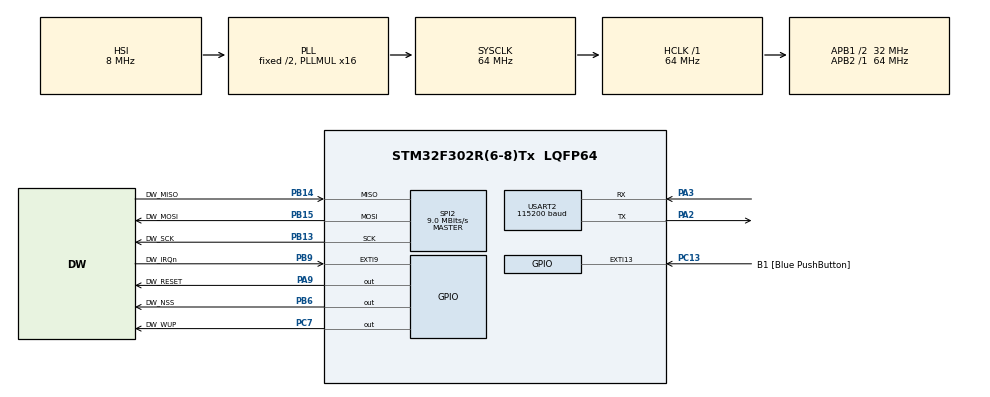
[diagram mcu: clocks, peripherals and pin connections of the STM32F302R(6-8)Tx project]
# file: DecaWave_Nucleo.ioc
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Mcu.Family=STM32F3
Mcu.Name=STM32F302R(6-8)Tx
Mcu.Package=LQFP64
NVIC.EXTI15_10_IRQn=true\:0\:0\:false\:false\:true\:true\:true\:true
NVIC.EXTI9_5_IRQn=true\:0\:0\:false\:false\:true\:true\:true\:true
NVIC.PriorityGroup=NVIC_PRIORITYGROUP_0
NVIC.RCC_IRQn=true\:0\:0\:false\:false\:true\:true\:false\:true
NVIC.SPI2_IRQn=true\:0\:0\:false\:false\:true\:true\:true\:true
NVIC.TIM1_UP_TIM16_IRQn=true\:0\:0\:false\:false\:true\:false\:true\:true
NVIC.TimeBase=TIM1_UP_TIM16_IRQn
NVIC.TimeBaseIP=TIM1
PA13.Mode=Serial_Wire
PA13.Signal=SYS_JTMS-SWDIO
PA14.GPIO_Label=TCK
PA14.Mode=Serial_Wire
PA14.Signal=SYS_JTCK-SWCLK
PA2.Mode=Asynchronous
PA2.Signal=USART2_TX
PA3.Mode=Asynchronous
PA3.Signal=USART2_RX
PA9.GPIO_Label=DW_RESET
PA9.GPIO_ModeDefaultOutputPP=GPIO_MODE_OUTPUT_OD
PA9.GPIO_PuPd=GPIO_NOPULL
PA9.Signal=GPIO_Output
PB13.GPIO_Label=DW_SCK
PB13.Mode=Full_Duplex_Master
PB13.Signal=SPI2_SCK
PB14.GPIO_Label=DW_MISO
PB14.Mode=Full_Duplex_Master
PB14.Signal=SPI2_MISO
PB15.GPIO_Label=DW_MOSI
PB15.Mode=Full_Duplex_Master
PB15.Signal=SPI2_MOSI
PB6.GPIO_Label=DW_NSS
PB6.GPIO_ModeDefaultOutputPP=GPIO_MODE_OUTPUT_PP
PB6.GPIO_Speed=GPIO_SPEED_FREQ_HIGH
PB6.PinState=GPIO_PIN_SET
PB6.Signal=GPIO_Output
PB9.GPIO_Label=DW_IRQn
PB9.GPIO_ModeDefaultEXTI=GPIO_MODE_IT_RISING
PB9.GPIO_PuPd=GPIO_PULLDOWN
PB9.Signal=GPXTI9
PC13.GPIO_Label=B1 [Blue PushButton]
PC13.GPIO_ModeDefaultEXTI=GPIO_MODE_IT_FALLING
PC13.Signal=GPXTI13
PC7.GPIO_Label=DW_WUP
PC7.GPIO_ModeDefaultOutputPP=GPIO_MODE_OUTPUT_OD
PC7.GPIO_PuPd=GPIO_NOPULL
PC7.GPIO_Speed=GPIO_SPEED_FREQ_HIGH
PC7.PinState=GPIO_PIN_SET
PC7.Signal=GPIO_Output
ProjectManager.HeapSize=0x200
ProjectManager.StackSize=0x400
ProjectManager.TargetToolchain=STM32CubeIDE
RCC.AHBFreq_Value=64000000
RCC.APB1CLKDivider=RCC_HCLK_DIV2
RCC.APB1Freq_Value=32000000
RCC.APB1TimFreq_Value=64000000
RCC.APB2Freq_Value=64000000
RCC.APB2TimFreq_Value=64000000
RCC.CortexFreq_Value=64000000
RCC.HCLKFreq_Value=64000000
RCC.HSE_VALUE=8000000
RCC.HSI_VALUE=8000000
RCC.LSE_VALUE=32768
RCC.PLLM=8
RCC.PLLMUL=RCC_PLL_MUL16
RCC.PLLN=336
RCC.PLLP=RCC_PLLP_DIV4
RCC.PLLQ=7
RCC.RCC_PLLsource_Clock_Source_FROM_HSE=RCC_HSE_PREDIV_DIV2
RCC.SYSCLKFreq_VALUE=64000000
RCC.SYSCLKSourceVirtual=RCC_SYSCLKSOURCE_PLLCLK
RCC.USBFreq_Value=64000000
SPI2.BaudRatePrescaler=SPI_BAUDRATEPRESCALER_4
SPI2.CalculateBaudRate=9.0 MBits/s
SPI2.DataSize=SPI_DATASIZE_8BIT
SPI2.Direction=SPI_DIRECTION_2LINES
SPI2.Mode=SPI_MODE_MASTER
SPI2.NSSPMode=SPI_NSS_PULSE_DISABLE
SPI2.VirtualType=VM_MASTER
USART2.BaudRate=115200
USART2.VirtualMode-Asynchronous=VM_ASYNC
VP_SYS_VS_tim1.Mode=TIM1
board=NUCLEO-F302R8

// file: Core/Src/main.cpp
/* USER CODE BEGIN Header */
/**
  ******************************************************************************
  * @file           : main.c
  * @brief          : Main program body
  ******************************************************************************
  * @attention
  *
  * Copyright (c) 2023 STMicroelectronics.
  * All rights reserved.
  *
  * This software is licensed under terms that can be found in the LICENSE file
  * in the root directory of this software component.
  * If no LICENSE file comes with this software, it is provided AS-IS.
  *
  ******************************************************************************
  */
/* USER CODE END Header */
#include "main.h"

/* USER CODE BEGIN Includes */
#include "port.h"
#include "deca_device_api.h"
#include "deca_regs.h"
#include "deca_spi.h"
#include "port.h"

#include "DW1000Ranging.h"

/* USER CODE END Includes */

/* USER CODE BEGIN PD */
#define DELAY_CALIB false
/* USER CODE END PD */

SPI_HandleTypeDef hspi2;
UART_HandleTypeDef huart2;

/* USER CODE BEGIN PV */

/* Default communication configuration. We use here EVK1000's default mode (mode 3). */
static dwt_config_t config = {
    5,               /* Channel number. */
    DWT_PRF_16M,     /* Pulse repetition frequency. */
    DWT_PLEN_2048,   /* Preamble length. Used in TX only. */
    DWT_PAC8,       /* Preamble acquisition chunk size. Used in RX only. */
    4,               /* TX preamble code. Used in TX only. */
    4,               /* RX preamble code. Used in RX only. */
    1,               /* 0 to use standard SFD, 1 to use non-standard SFD. */
    DWT_BR_110K,     /* Data rate. */
    DWT_PHRMODE_STD, /* PHY header mode. */
	(4096 + 64 + 1) /* SFD timeout (preamble length + 1 + SFD length - PAC size). Used in RX only. */
};

//char tag_addr[] = "7D:02:22:EA:82:60:3B:9C";
char anchor_addr[] = "04:73:5B:D5:A9:9A:E2:AC";  // addr = 4
uint8_t uart_new_line[] = "\r\n";

// calibrated value
// 16325 before closet
uint16_t Adelay = 16397;

float this_anchor_target_distance = 13.0; //measured distance to anchor in m
uint16_t Adelay_delta = 10; //initial binary search step size
/* USER CODE END PV */

void SystemClock_Config(void);
static void MX_GPIO_Init(void);
static void MX_SPI2_Init(void);
static void MX_USART2_UART_Init(void);

/* USER CODE BEGIN 0 */

void newRange()
{
	if (DELAY_CALIB)
	{
		static float last_delta = 0.0;

		float dist = 0;
		for (int i = 0; i < 100; i++) {
		// get and average 100 measurements
		dist += DW1000Ranging.getDistantDevice()->getRange();
		}
		dist /= 100.0;

		uint8_t buffer_uart1[32];
		sprintf((char*)buffer_uart1, " Distance is: %f\r\n", dist);
		HAL_UART_Transmit(&huart2, buffer_uart1, strlen((char*)buffer_uart1), 100);

		if (Adelay_delta < 3) {
			uint8_t buf[] = "\r\n final Adelay ";
			HAL_UART_Transmit(&huart2, buf, sizeof(buf), 100);
//			uint8_t adel[2] = {Adelay & 0xFF, Adelay >> 8};
			HAL_UART_Transmit(&huart2, (uint8_t *)&Adelay, sizeof(Adelay), 100);

			while(1);  //done calibrating
		}

		float this_delta = dist - this_anchor_target_distance;  //error in measured distance

		if ( this_delta * last_delta < 0.0) Adelay_delta = Adelay_delta / 2; //sign changed, reduce step size
		last_delta = this_delta;

		if (this_delta > 0.0 ) Adelay += Adelay_delta; //new trial Adelay
		else Adelay -= Adelay_delta;

		uint8_t buf1[] = "\r\n Adelay = ";
		HAL_UART_Transmit(&huart2, buf1, sizeof(buf1), 100);
//		uint8_t adel[2] = {Adelay & 0xFF, Adelay >> 8};
//		HAL_UART_Transmit(&huart2, adel, sizeof(adel), 100);
		HAL_UART_Transmit(&huart2, (uint8_t *)&Adelay, sizeof(Adelay), 100);
		DW1000.setAntennaDelay(Adelay);
		DW1000Ranging.startAsAnchor(anchor_addr, DW1000.MODE_LONGDATA_RANGE_LOWPOWER, false);
	}
	else
	{
		uint8_t buffer_uart2[32];

		float range = DW1000Ranging.getDistantDevice()->getRange();
		sprintf((char*)buffer_uart2, "Distance is: %f\r\n", range);
		HAL_UART_Transmit(&huart2, buffer_uart2, strlen((char*)buffer_uart2), 100);
	}
}

void newDevice(DW1000Device *device)
{
	uint8_t buffer_uart2[] = "Device added\r\n";
	HAL_UART_Transmit(&huart2, buffer_uart2, sizeof(buffer_uart2), 100);
}

void inactiveDevice(DW1000Device *device)
{
	uint8_t buffer_uart3[] = "Delete inactive device\r\n";
	HAL_UART_Transmit(&huart2, buffer_uart3, sizeof(buffer_uart3), 100);
}

int dw_main(void)
{
    /* Display application name on LCD. */
	uint8_t buffer_uart[] = "\r\nSS TWR INIT v1.3\r\n";  // начало строки, новая строка
	HAL_UART_Transmit(&huart2, buffer_uart, sizeof(buffer_uart), 100);

	DW1000Ranging.initCommunication(&huart2, &config);

	DW1000.setAntennaDelay(Adelay);

	DW1000Ranging.attachNewRange(newRange);
	DW1000Ranging.attachNewDevice(newDevice);
	DW1000Ranging.attachInactiveDevice(inactiveDevice);
	//Enable the filter to smooth the distance
	DW1000Ranging.useRangeFilter(true);

	DW1000Ranging.startAsAnchor(anchor_addr, DW1000.MODE_LONGDATA_RANGE_LOWPOWER, false);

}
/* USER CODE END 0 */

int main(void)
{

  /* MCU Configuration--------------------------------------------------------*/

  /* Reset of all peripherals, Initializes the Flash interface and the Systick. */
  HAL_Init();

  /* Configure the system clock */
  SystemClock_Config();

  /* Initialize all configured peripherals */
  MX_GPIO_Init();
  MX_SPI2_Init();
  MX_USART2_UART_Init();
  /* USER CODE BEGIN 2 */

  setup_DW1000RSTnIRQ(0);
  dw_main();

  /* USER CODE END 2 */

  /* Infinite loop */
  /* USER CODE BEGIN WHILE */
  while (1)
  {
	  DW1000Ranging.loop();

    /* USER CODE END WHILE */

  }
}

void SystemClock_Config(void)
{
  RCC_OscInitTypeDef RCC_OscInitStruct = {0};
  RCC_ClkInitTypeDef RCC_ClkInitStruct = {0};

  /** Initializes the RCC Oscillators according to the specified parameters
  * in the RCC_OscInitTypeDef structure.
  */
  RCC_OscInitStruct.OscillatorType = RCC_OSCILLATORTYPE_HSI;
  RCC_OscInitStruct.HSIState = RCC_HSI_ON;
  RCC_OscInitStruct.HSICalibrationValue = RCC_HSICALIBRATION_DEFAULT;
  RCC_OscInitStruct.PLL.PLLState = RCC_PLL_ON;
  RCC_OscInitStruct.PLL.PLLSource = RCC_PLLSOURCE_HSI;
  RCC_OscInitStruct.PLL.PLLMUL = RCC_PLL_MUL16;
  if (HAL_RCC_OscConfig(&RCC_OscInitStruct) != HAL_OK)
  {
    Error_Handler();
  }

  /** Initializes the CPU, AHB and APB buses clocks
  */
  RCC_ClkInitStruct.ClockType = RCC_CLOCKTYPE_HCLK|RCC_CLOCKTYPE_SYSCLK
                              |RCC_CLOCKTYPE_PCLK1|RCC_CLOCKTYPE_PCLK2;
  RCC_ClkInitStruct.SYSCLKSource = RCC_SYSCLKSOURCE_PLLCLK;
  RCC_ClkInitStruct.AHBCLKDivider = RCC_SYSCLK_DIV1;
  RCC_ClkInitStruct.APB1CLKDivider = RCC_HCLK_DIV2;
  RCC_ClkInitStruct.APB2CLKDivider = RCC_HCLK_DIV1;

  if (HAL_RCC_ClockConfig(&RCC_ClkInitStruct, FLASH_LATENCY_2) != HAL_OK)
  {
    Error_Handler();
  }
}

static void MX_SPI2_Init(void)
{

  /* SPI2 parameter configuration*/
  hspi2.Instance = SPI2;
  hspi2.Init.Mode = SPI_MODE_MASTER;
  hspi2.Init.Direction = SPI_DIRECTION_2LINES;
  hspi2.Init.DataSize = SPI_DATASIZE_8BIT;
  hspi2.Init.CLKPolarity = SPI_POLARITY_LOW;
  hspi2.Init.CLKPhase = SPI_PHASE_1EDGE;
  hspi2.Init.NSS = SPI_NSS_SOFT;
  hspi2.Init.BaudRatePrescaler = SPI_BAUDRATEPRESCALER_4;
  hspi2.Init.FirstBit = SPI_FIRSTBIT_MSB;
  hspi2.Init.TIMode = SPI_TIMODE_DISABLE;
  hspi2.Init.CRCCalculation = SPI_CRCCALCULATION_DISABLE;
  hspi2.Init.CRCPolynomial = 7;
  hspi2.Init.CRCLength = SPI_CRC_LENGTH_DATASIZE;
  hspi2.Init.NSSPMode = SPI_NSS_PULSE_DISABLE;
  if (HAL_SPI_Init(&hspi2) != HAL_OK)
  {
    Error_Handler();
  }

}

static void MX_USART2_UART_Init(void)
{

  huart2.Instance = USART2;
  huart2.Init.BaudRate = 115200;
  huart2.Init.WordLength = UART_WORDLENGTH_8B;
  huart2.Init.StopBits = UART_STOPBITS_1;
  huart2.Init.Parity = UART_PARITY_NONE;
  huart2.Init.Mode = UART_MODE_TX_RX;
  huart2.Init.HwFlowCtl = UART_HWCONTROL_NONE;
  huart2.Init.OverSampling = UART_OVERSAMPLING_16;
  huart2.Init.OneBitSampling = UART_ONE_BIT_SAMPLE_DISABLE;
  huart2.AdvancedInit.AdvFeatureInit = UART_ADVFEATURE_NO_INIT;
  if (HAL_UART_Init(&huart2) != HAL_OK)
  {
    Error_Handler();
  }

}

static void MX_GPIO_Init(void)
{
  GPIO_InitTypeDef GPIO_InitStruct = {0};

  /* GPIO Ports Clock Enable */
  __HAL_RCC_GPIOC_CLK_ENABLE();
  __HAL_RCC_GPIOA_CLK_ENABLE();
  __HAL_RCC_GPIOB_CLK_ENABLE();

  /*Configure GPIO pin Output Level */
  HAL_GPIO_WritePin(DW_WUP_GPIO_Port, DW_WUP_Pin, GPIO_PIN_RESET);

  /*Configure GPIO pin Output Level */
  HAL_GPIO_WritePin(DW_RESET_GPIO_Port, DW_RESET_Pin, GPIO_PIN_RESET);

  /*Configure GPIO pin Output Level */
  HAL_GPIO_WritePin(DW_NSS_GPIO_Port, DW_NSS_Pin, GPIO_PIN_RESET);

  /*Configure GPIO pin : B1_Pin */
  GPIO_InitStruct.Pin = B1_Pin;
  GPIO_InitStruct.Mode = GPIO_MODE_IT_FALLING;
  GPIO_InitStruct.Pull = GPIO_NOPULL;
  HAL_GPIO_Init(B1_GPIO_Port, &GPIO_InitStruct);

  /*Configure GPIO pin : DW_WUP_Pin */
  GPIO_InitStruct.Pin = DW_WUP_Pin;
  GPIO_InitStruct.Mode = GPIO_MODE_OUTPUT_OD;
  GPIO_InitStruct.Pull = GPIO_NOPULL;
  GPIO_InitStruct.Speed = GPIO_SPEED_FREQ_HIGH;
  HAL_GPIO_Init(DW_WUP_GPIO_Port, &GPIO_InitStruct);

  /*Configure GPIO pin : DW_RESET_Pin */
  GPIO_InitStruct.Pin = DW_RESET_Pin;
  GPIO_InitStruct.Mode = GPIO_MODE_OUTPUT_OD;
  GPIO_InitStruct.Pull = GPIO_NOPULL;
  GPIO_InitStruct.Speed = GPIO_SPEED_FREQ_LOW;
  HAL_GPIO_Init(DW_RESET_GPIO_Port, &GPIO_InitStruct);

  /*Configure GPIO pin : DW_NSS_Pin */
  GPIO_InitStruct.Pin = DW_NSS_Pin;
  GPIO_InitStruct.Mode = GPIO_MODE_OUTPUT_PP;
  GPIO_InitStruct.Pull = GPIO_NOPULL;
  GPIO_InitStruct.Speed = GPIO_SPEED_FREQ_HIGH;
  HAL_GPIO_Init(DW_NSS_GPIO_Port, &GPIO_InitStruct);

  /*Configure GPIO pin : DW_IRQn_Pin */
  GPIO_InitStruct.Pin = DW_IRQn_Pin;
  GPIO_InitStruct.Mode = GPIO_MODE_IT_RISING;
  GPIO_InitStruct.Pull = GPIO_PULLDOWN;
  HAL_GPIO_Init(DW_IRQn_GPIO_Port, &GPIO_InitStruct);

  /* EXTI interrupt init*/
  HAL_NVIC_SetPriority(EXTI9_5_IRQn, 4, 0);
  HAL_NVIC_EnableIRQ(EXTI9_5_IRQn);

  HAL_NVIC_SetPriority(EXTI15_10_IRQn, 0, 0);
  HAL_NVIC_EnableIRQ(EXTI15_10_IRQn);

}

void HAL_TIM_PeriodElapsedCallback(TIM_HandleTypeDef *htim)
{
  if (htim->Instance == TIM1) {
    HAL_IncTick();
  }
}

void Error_Handler(void)
{
  __disable_irq();
  while (1)
  {
  }
}
